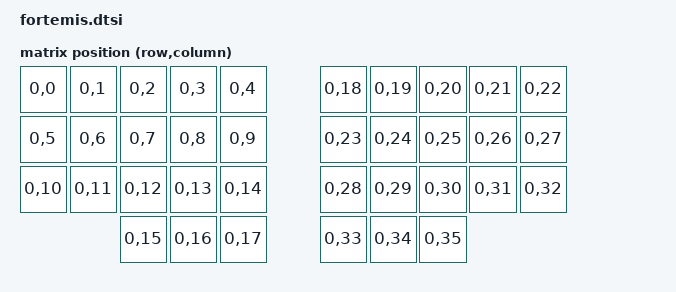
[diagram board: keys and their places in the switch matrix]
/*
 * Fortemis: 36 keys, 18 per half, each wired straight from its own XIAO
 * nRF52840 Plus pin to GND. There are no diodes and no matrix, so the kscan is
 * a direct-wired one, with each half's pins in its own overlay.
 *
 * The matrix transform is a single row of 36 columns. Each half reports its
 * keys in keymap order (rows top, home, bottom, then the thumbs; left to right)
 * as columns 0-17, and the right half's col-offset moves its keys to 18-35.
 */

#include <dt-bindings/zmk/matrix_transform.h>
#include <physical_layouts.dtsi>

/ {
    chosen {
        zmk,kscan = &kscan0;
        zmk,physical-layout = &default_layout;
    };

    kscan0: kscan_0 {
        compatible = "zmk,kscan-gpio-direct";
        wakeup-source;
    };

    // What ZMK Studio draws, taken from the switch positions on the PCBs.
    // 1 key unit = 18 mm (the Choc column pitch); keys are Choc keycap sized.
    default_layout: default_layout {
        compatible = "zmk,physical-layout";
        display-name = "Default Layout";
        transform = <&default_transform>;

        // begin: generated by ergogen/tools/zmk.py
        //                            w  h    x   y     rot   rx  ry
        keys  = <&key_physical_attrs 97 92    7  96 (-1000)   56 142>  //  0 left top pinky
              , <&key_physical_attrs 97 92  123  28  (-400)  171  74>  //  1 left top ring
              , <&key_physical_attrs 97 92  239   0       0  288  46>  //  2 left top middle
              , <&key_physical_attrs 97 92  339  16       0  388  62>  //  3 left top index
              , <&key_physical_attrs 97 92  439  28       0  488  74>  //  4 left top inner
              , <&key_physical_attrs 97 92 1106  28       0 1154  74>  //  5 right top inner
              , <&key_physical_attrs 97 92 1206  16       0 1254  62>  //  6 right top index
              , <&key_physical_attrs 97 92 1306   0       0 1354  46>  //  7 right top middle
              , <&key_physical_attrs 97 92 1422  28     400 1471  74>  //  8 right top ring
              , <&key_physical_attrs 97 92 1538  96    1000 1586 142>  //  9 right top pinky
              , <&key_physical_attrs 97 92   24 189 (-1000)   72 235>  // 10 left home pinky
              , <&key_physical_attrs 97 92  129 122  (-400)  178 168>  // 11 left home ring
              , <&key_physical_attrs 97 92  239  94       0  288 140>  // 12 left home middle
              , <&key_physical_attrs 97 92  339 111       0  388 157>  // 13 left home index
              , <&key_physical_attrs 97 92  439 122       0  488 168>  // 14 left home inner
              , <&key_physical_attrs 97 92 1106 122       0 1154 168>  // 15 right home inner
              , <&key_physical_attrs 97 92 1206 111       0 1254 157>  // 16 right home index
              , <&key_physical_attrs 97 92 1306  94       0 1354 140>  // 17 right home middle
              , <&key_physical_attrs 97 92 1416 122     400 1464 168>  // 18 right home ring
              , <&key_physical_attrs 97 92 1521 189    1000 1570 235>  // 19 right home pinky
              , <&key_physical_attrs 97 92   40 282 (-1000)   89 328>  // 20 left bottom pinky
              , <&key_physical_attrs 97 92  136 216  (-400)  184 262>  // 21 left bottom ring
              , <&key_physical_attrs 97 92  239 189       0  288 235>  // 22 left bottom middle
              , <&key_physical_attrs 97 92  339 205       0  388 251>  // 23 left bottom index
              , <&key_physical_attrs 97 92  439 216       0  488 262>  // 24 left bottom inner
              , <&key_physical_attrs 97 92 1106 216       0 1154 262>  // 25 right bottom inner
              , <&key_physical_attrs 97 92 1206 205       0 1254 251>  // 26 right bottom index
              , <&key_physical_attrs 97 92 1306 189       0 1354 235>  // 27 right bottom middle
              , <&key_physical_attrs 97 92 1409 216     400 1458 262>  // 28 right bottom ring
              , <&key_physical_attrs 97 92 1505 282    1000 1553 328>  // 29 right bottom pinky
              , <&key_physical_attrs 97 92  454 336    2500  503 382>  // 30 left near thumb
              , <&key_physical_attrs 97 92  536 399    2500  584 445>  // 31 left far thumb
              , <&key_physical_attrs 97 92 1009 399 (-2500) 1058 445>  // 32 right far thumb
              , <&key_physical_attrs 97 92 1091 336 (-2500) 1139 382>  // 33 right near thumb
              ;
        // end: generated
    };

    default_transform: keymap_transform_0 {
        compatible = "zmk,matrix-transform";
        columns = <36>;
        rows = <1>;

        map = <
            RC(0,0)  RC(0,1)  RC(0,2)  RC(0,3)  RC(0,4)           RC(0,18) RC(0,19) RC(0,20) RC(0,21) RC(0,22)
            RC(0,5)  RC(0,6)  RC(0,7)  RC(0,8)  RC(0,9)           RC(0,23) RC(0,24) RC(0,25) RC(0,26) RC(0,27)
            RC(0,10) RC(0,11) RC(0,12) RC(0,13) RC(0,14)          RC(0,28) RC(0,29) RC(0,30) RC(0,31) RC(0,32)
                              RC(0,15) RC(0,16) RC(0,17)          RC(0,33) RC(0,34) RC(0,35)
        >;
    };
};
